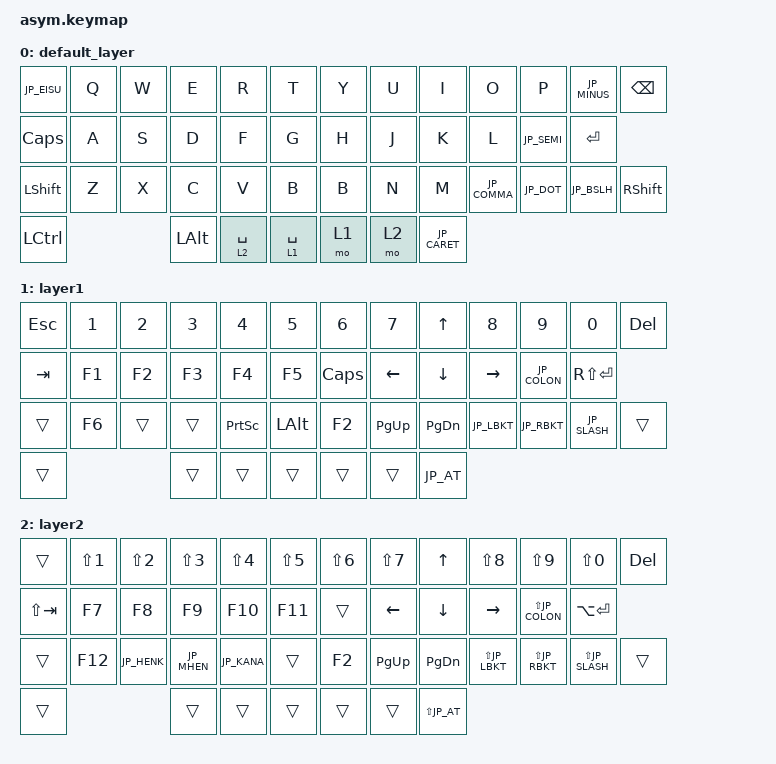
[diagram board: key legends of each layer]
/*
 * Copyright (c) 2022 The ZMK Contributors
 *
 * SPDX-License-Identifier: MIT
 */

#include <behaviors.dtsi>
#include <dt-bindings/zmk/keys.h>

#include "keycode_japanese.h"

/ {
	keymap {
		compatible = "zmk,keymap";
		default_layer {
			bindings = <
				&kp JP_EISU	&kp Q		&kp W		&kp E		&kp R		&kp T							&kp Y		&kp U		&kp I			&kp O			&kp P				&kp JP_MINUS	&kp BSPC
				&kp CAPS	&kp A		&kp S		&kp D		&kp F		&kp G							&kp H		&kp J		&kp K			&kp L			&kp JP_SEMI			&kp ENTER
				&kp LSHFT	&kp Z		&kp X		&kp C		&kp V		&kp B				&kp B		&kp N		&kp M		&kp JP_COMMA	&kp JP_DOT		&kp JP_BSLH			&kp RSHFT
				&kp LCTRL							&kp LALT	&lt 2 SPACE	&lt 1 SPACE			&mo 1		&mo 2		&kp JP_CARET
			>;
		};
		layer1 {
			bindings = <
				&kp ESC		&kp N1		&kp N2		&kp N3		&kp N4		&kp N5							&kp N6		&kp N7		&kp UP			&kp N8			&kp N9				&kp N0			&kp DEL 
				&kp TAB		&kp F1		&kp F2		&kp F3		&kp F4		&kp F5							&kp CAPS	&kp LEFT	&kp DOWN		&kp RIGHT		&kp JP_COLON		&kp RS(ENTER)
				&trans		&kp F6		&trans		&trans		&kp PSCRN	&kp LALT			&kp F2		&kp PG_UP	&kp PG_DN	&kp JP_LBKT		&kp JP_RBKT		&kp JP_SLASH		&trans
				&trans								&trans		&trans		&trans				&trans		&trans		&kp JP_AT
			>;
		};
		layer2 {
			bindings = <
				&trans		&kp LS(N1)	&kp LS(N2)	&kp LS(N3)	&kp LS(N4)	&kp LS(N5)						&kp LS(N6)	&kp LS(N7)	&kp UP			&kp LS(N8)		&kp LS(N9)			&kp LS(N0)		&kp DEL
				&kp LS(TAB)	&kp F7		&kp F8		&kp F9		&kp F10		&kp F11							&trans		&kp LEFT	&kp DOWN		&kp RIGHT		&kp LS(JP_COLON)		&kp LA(ENTER)
				&trans		&kp F12		&kp JP_HENK	&kp JP_MHEN	&kp JP_KANA	&trans				&kp F2		&kp PG_UP	&kp PG_DN	&kp LS(JP_LBKT)	&kp LS(JP_RBKT)	&kp LS(JP_SLASH)	&trans
				&trans								&trans		&trans		&trans				&trans		&trans		&kp LS(JP_AT)
			>;
		};
	};
};
